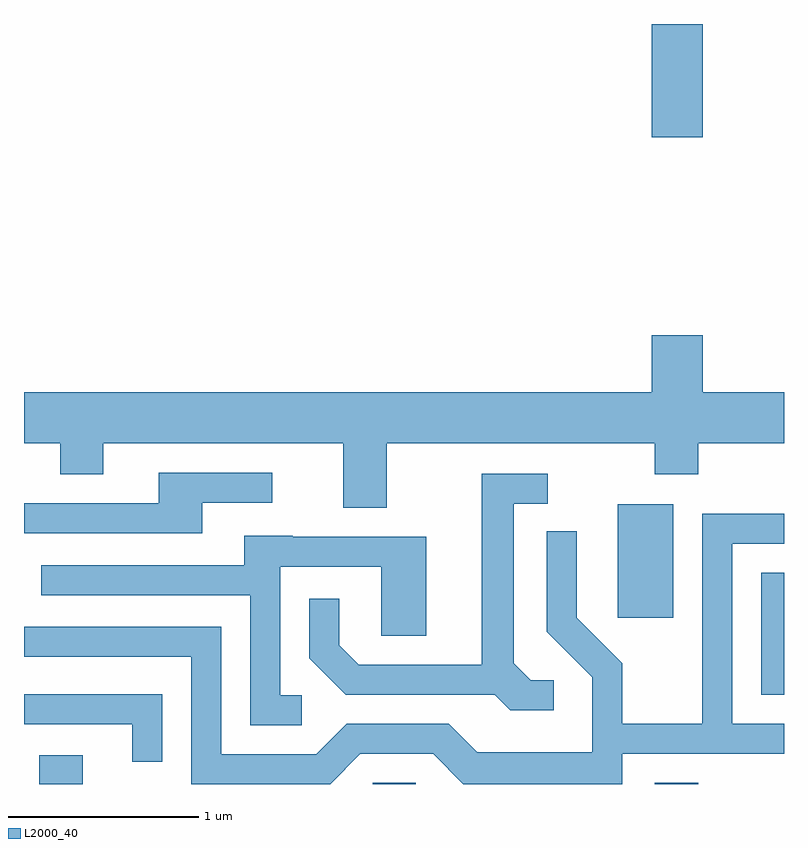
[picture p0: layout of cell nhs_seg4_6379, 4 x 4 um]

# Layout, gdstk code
import gdstk
lib = gdstk.Library(unit=1e-6, precision=1e-09)
def R(c, l, rs):  # rectangles x0, y0, x1, y1
    for r in rs: c.add(gdstk.rectangle(r[:2], r[2:], *l))
def P(c, l, *ps):  # polygons
    for p in ps: c.add(gdstk.Polygon(p, *l))
L2000_40 = (2000, 40)

nhs_seg4_6379 = lib.new_cell('nhs_seg4_6379')
R(nhs_seg4_6379, L2000_40, [(371.691,1363.982,371.919,1364.134), (373.446,1363.982,373.674,1363.989), (374.931,1363.982,375.159,1363.989), (375.491,1364.451,375.611,1365.094), (374.736,1364.856,375.029,1365.454), (374.916,1367.386,375.184,1367.982)])
P(nhs_seg4_6379, L2000_40, [(373.519,1365.776),(374.931,1365.776),(374.931,1365.611),(375.159,1365.611),(375.159,1365.776),(375.611,1365.776),(375.611,1366.044),(375.184,1366.044),(375.184,1366.344),(374.916,1366.344),(374.916,1366.044),(371.611,1366.044),(371.611,1365.776),(371.801,1365.776),(371.801,1365.611),(372.029,1365.611),(372.029,1365.776),(373.291,1365.776),(373.291,1365.436),(373.519,1365.436)],
  [(372.549,1365.461),(372.918,1365.461),(372.918,1365.619),(372.321,1365.619),(372.321,1365.459),(371.611,1365.459),(371.611,1365.301),(372.549,1365.301)],
  [(374.398,1364.529),(374.277,1364.529),(374.189,1364.617),(374.189,1365.456),(374.368,1365.456),(374.368,1365.614),(374.021,1365.614),(374.021,1364.609),(373.372,1364.609),(373.269,1364.712),(373.269,1364.958),(373.111,1364.958),(373.111,1364.644),(373.304,1364.451),(374.089,1364.451),(374.169,1364.371),(374.398,1364.371)],
  [(373.382,1364.141),(373.764,1364.141),(373.923,1363.982),(374.759,1363.982),(374.759,1364.141),(375.611,1364.141),(375.611,1364.299),(375.339,1364.299),(375.339,1365.246),(375.611,1365.246),(375.611,1365.404),(375.181,1365.404),(375.181,1364.299),(374.759,1364.299),(374.759,1364.617),(374.519,1364.857),(374.519,1365.313),(374.361,1365.313),(374.361,1364.784),(374.601,1364.544),(374.601,1364.149),(373.997,1364.149),(373.847,1364.299),(373.309,1364.299),(373.149,1364.139),(372.649,1364.139),(372.649,1364.809),(371.611,1364.809),(371.611,1364.651),(372.491,1364.651),(372.491,1363.982),(373.223,1363.982)],
  [(373.073,1364.449),(372.959,1364.449),(372.959,1365.126),(373.491,1365.126),(373.491,1364.761),(373.729,1364.761),(373.729,1365.284),(373.025,1365.284),(373.025,1365.289),(372.771,1365.289),(372.771,1365.134),(371.703,1365.134),(371.703,1364.976),(372.801,1364.976),(372.801,1364.291),(373.073,1364.291)],
  [(372.339,1364.454),(371.611,1364.454),(371.611,1364.296),(372.181,1364.296),(372.181,1364.098),(372.339,1364.098)])

lib.write_gds('nhs_seg4_6379.gds')
